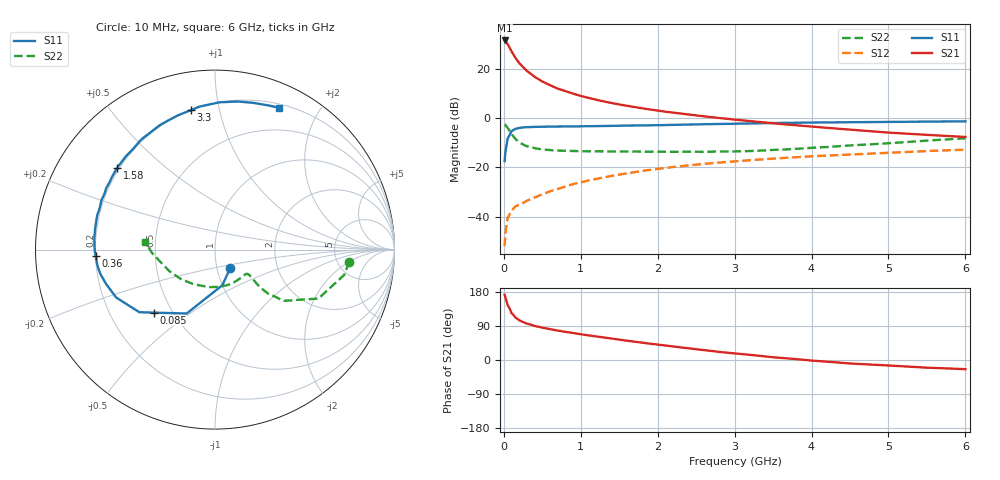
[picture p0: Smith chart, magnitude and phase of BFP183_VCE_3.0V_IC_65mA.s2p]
! Infineon Technologies  Discrete & RF Semiconductors
! BFP183
! VCE = 3.0 V,  IC =  65 mA
! Common Emitter S-Parameters:  Jan 2016
# GHz  S  MA  R  50
!  f  S11  S21  S12  S22
! GHz  MAG  ANG  MAG  ANG  MAG  ANG  MAG  ANG
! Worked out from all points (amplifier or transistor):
!   210 points, 10 MHz to 6 GHz, reference 50 ohm
!   highest |S21| = 31.7 dB at 10 MHz (marker M1)
!   |S21| within 3 dB of that: start of sweep to 74.67 MHz
!   unconditionally stable (mu >= 1): start of sweep to 34.75 MHz; 185.9 MHz to end of sweep
!   at 185 MHz: K = 1.00, MSG = 29.3 dB, |S12| = -35.3 dB
!   at 1.52 GHz: K = 1.67, MAG = 9.4 dB, |S12| = -22.8 dB
!   at 6 GHz: K = 1.27, MAG = -0.5 dB, |S12| = -12.8 dB
!   S11 on the Smith chart (normalised r, x): 10 MHz: 1.16, -0.25; 85 MHz: 0.39, -0.36; 360 MHz: 0.20, -0.03; 1.58 GHz: 0.19, +0.35; 3.3 GHz: 0.20, +0.82; 6 GHz: 0.24, +1.52
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0.01  0.1339 -51.1  38.39 172.2  0.0025 60.9  0.7505 -5.2
0.02  0.2023 -78.2  37.51 164.6  0.0044 63.3  0.7334 -11.1
0.05  0.3896 -113.9  32.26 144.5  0.0093 62.6  0.6378 -25.3
0.085  0.4905 -134.3  25.27 131.6  0.0119 52.7  0.5234 -32.6
0.1  0.5473 -140.4  22.84 123.8  0.0131 49.7  0.4778 -36.7
0.15  0.6123 -154.2  16.99 112.1  0.0161 46.7  0.3809 -39.7
0.155  0.6141 -155.1  16.61 111.5  0.0162 46.8  0.3753 -39.7
0.2  0.6363 -162.5  13.32 104.9  0.0175 48.0  0.3248 -39.9
0.24  0.6502 -167.2  11.36 100.9  0.0186 49.3  0.299 -39.2
0.3  0.6614 -172.6  9.177 96.0  0.021 52.6  0.2701 -37.9
0.36  0.6656 -176.8  7.847 92.7  0.0231 54.1  0.2554 -37.2
0.5  0.6749 175.3  5.603 85.2  0.0283 57.4  0.2325 -36.4
0.6  0.6777 170.9  4.723 81.1  0.0327 59.5  0.2251 -36.9
0.8  0.6836 163.5  3.555 74.1  0.0409 61.6  0.218 -39.3
1.02  0.6897 155.9  2.799 67.3  0.0506 62.0  0.2137 -43.5
1.58  0.71 140.0  1.822 51.4  0.0752 59.6  0.2113 -57.1
2.02  0.7252 128.2  1.416 40.0  0.0942 55.8  0.2097 -70.1
3.1  0.779 103.7  0.908 15.5  0.1369 45.0  0.2133 -107.7
3.3  0.7885 99.9  0.846 11.6  0.144 42.9  0.2186 -115.0
4.1  0.8229 86.8  0.659 -2.9  0.1715 34.7  0.2551 -142.4
5.1  0.8463 74.5  0.501 -15.6  0.2021 25.6  0.3184 -169.3
6  0.8679 65.7  0.417 -24.2  0.2299 16.0  0.3916 173.4
